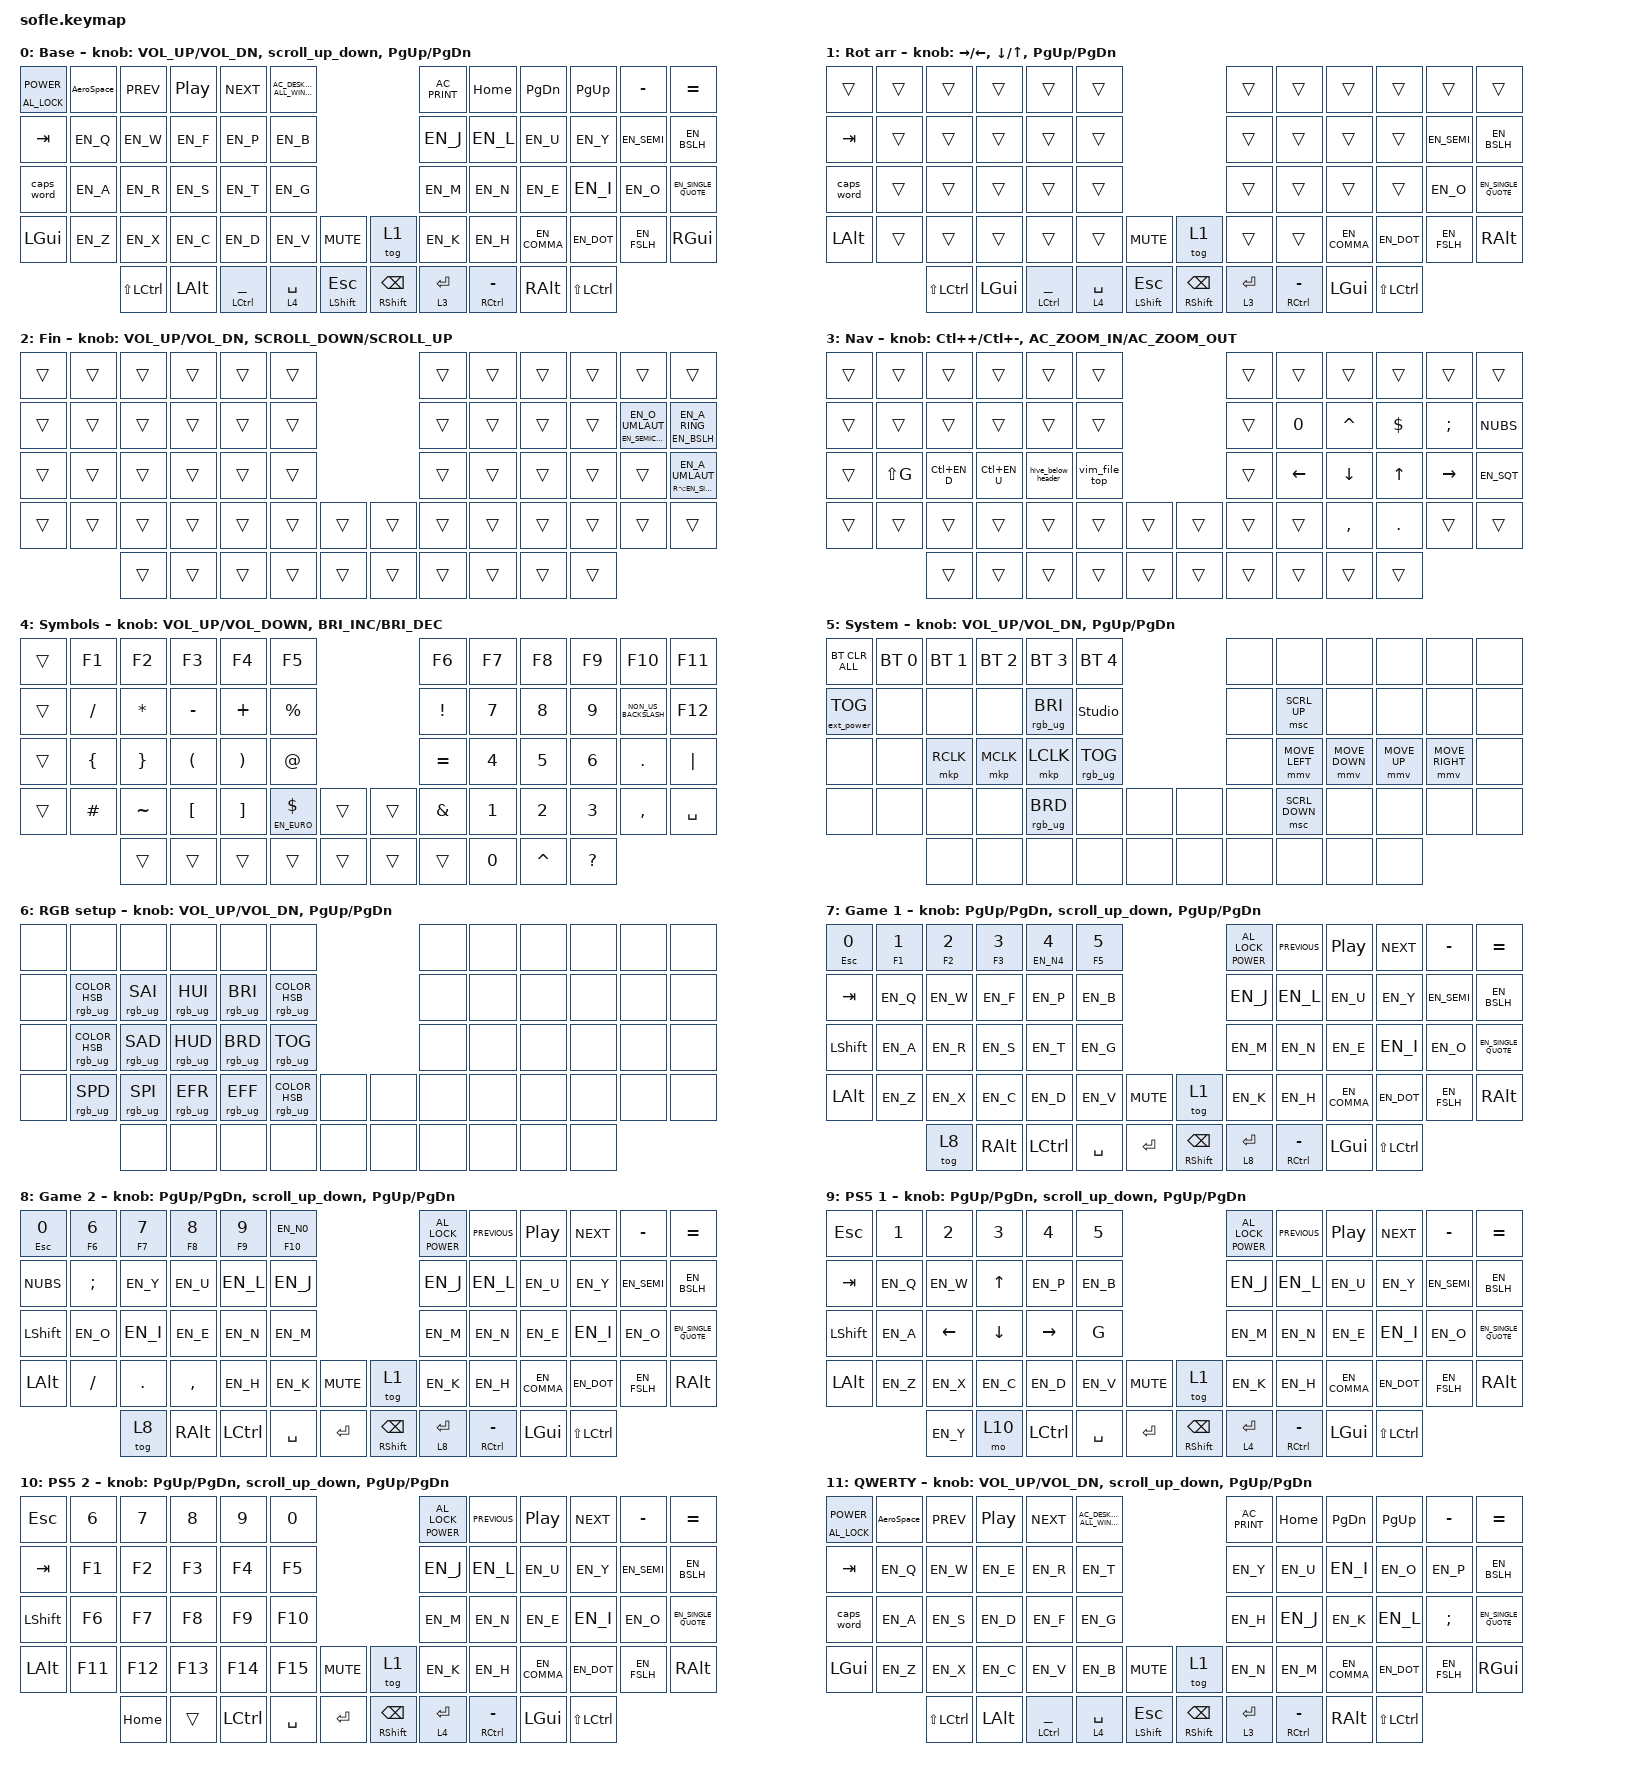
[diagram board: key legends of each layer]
/*
 * Copyright (c) 2020 The ZMK Contributors
 *
 * SPDX-License-Identifier: MIT
 */

#define ZMK_POINTING_DEFAULT_MOVE_VAL 1100  // 600
#define ZMK_POINTING_DEFAULT_SCRL_VAL 72   // 10
#define ZMK_MOUSE_SCRL_VAL 72

#include "keys_us_international.h"
#include <dt-bindings/led/led.h>
#include <behaviors.dtsi>
#include <dt-bindings/zmk/bt.h>
#include <dt-bindings/zmk/ext_power.h>
#include <dt-bindings/zmk/keys.h>
#include <dt-bindings/zmk/pointing.h>
#include <dt-bindings/zmk/rgb.h>

/*
 * Temporarily here because nice nano v2 spi is not defined on ZMK Yet
 * Source: https://github.com/zmkfirmware/zmk/blob/main/app/boards/shields/reviung41/boards/nice_nano.overlay
 * GitHub Issue: https://github.com/zmkfirmware/zmk/issues/885
 */

&pinctrl {
    spi3_default: spi3_default {
        group1 { psels = <NRF_PSEL(SPIM_MOSI, 0, 8)>; };
    };

    spi3_sleep: spi3_sleep {
        group1 {
            psels = <NRF_PSEL(SPIM_MOSI, 0, 8)>;
            low-power-enable;
        };
    };
};

&spi3 {
    compatible = "nordic,nrf-spim";
    status = "okay";
    pinctrl-0 = <&spi3_default>;
    pinctrl-1 = <&spi3_sleep>;
    pinctrl-names = "default", "sleep";

    led_strip: ws2812@0 {
        compatible = "worldsemi,ws2812-spi";
        label = "WS2812";

        /* SPI */

        reg = <0>; /* ignored, but necessary for SPI bindings */
        spi-max-frequency = <4000000>;

        /* WS2812 */

        chain-length = <30>;
        spi-one-frame = <0x70>;
        spi-zero-frame = <0x40>;
        color-mapping = <LED_COLOR_ID_GREEN LED_COLOR_ID_RED LED_COLOR_ID_BLUE>;
    };
};

/ {
    chosen { zmk,underglow = &led_strip; };
};

/* END temporary RGB support section */
// Encoders

&sensors { triggers-per-rotation = <30>; };

&left_encoder { steps = <60>; };

&right_encoder { steps = <60>; };

&mmv {
    x-input-code = <INPUT_REL_X>;
    y-input-code = <INPUT_REL_Y>;
    time-to-max-speed-ms = <1000>;    // 500
    acceleration-exponent = <1>;      // 1
    delay-ms = <0>;                   // 0
};

#define BASE 0
#define LOWER 1
#define RAISE 2
#define ADJUST 3

/ {
    // Activate ADJUST layer by pressing raise and lower

    conditional_layers {
        compatible = "zmk,conditional-layers";

        system_layer {
            if-layers = <4 3>;
            then-layer = <5>;
        };
    };

    combos {
        compatible = "zmk,combos";

        backspace {
            bindings = <&kp BACKSPACE>;
            key-positions = <20 21>;
        };

        delete_right {
            bindings = <&kp DELETE>;
            key-positions = <59 55>;
        };

        toggle_symbols {
            bindings = <&tog 4>;
            key-positions = <14 15 16>;
        };

        toggle_nav {
            bindings = <&tog 3>;
            key-positions = <19 20 21>;
        };

        toggle_finnish {
            bindings = <&tog 2>;
            key-positions = <53 36>;
        };

        capslock {
            bindings = <&kp CAPS>;
            key-positions = <54 55>;
        };

        delete_left {
            bindings = <&kp DELETE>;
            key-positions = <54 50>;
        };

        rgb_settings {
            bindings = <&tog 6>;
            key-positions = <0 5>;
        };

        toggle_game_1 {
            bindings = <&tog 7>;
            key-positions = <1 37>;
        };

        PS5_toggle {
            bindings = <&tog 9>;
            key-positions = <5 41>;
        };

        toggle_qwerty {
            bindings = <&tog 11>;
            key-positions = <0 36>;
        };
    };

    behaviors {
        caps: caps {
            compatible = "zmk,behavior-caps-word";
            label = "CAPS";
            #binding-cells = <0>;
            continue-list = <POUND MINUS BACKSPACE UNDERSCORE>;
        };

        LayerHold_KeyTap: LayerHold_KeyTap {
            compatible = "zmk,behavior-hold-tap";
            label = "LAYERHOLD_KEYTAP";
            bindings = <&mo>, <&kp>;

            #binding-cells = <2>;
            flavor = "balanced";
            tapping-term-ms = <0>;
        };

        scroll_up_down: scroll_up_down {
            compatible = "zmk,behavior-sensor-rotate";
            #sensor-binding-cells = <0>;
            tap-ms = <40>;
            bindings = <&msc SCRL_UP>, <&msc SCRL_DOWN>;

            label = "SCROLL_UP_DOWN";
        };

        key_tap_hold_layer_toggle: key_tap_hold_layer_toggle {
            compatible = "zmk,behavior-hold-tap";
            label = "KEY_TAP_HOLD_LAYER_TOGGLE";
            bindings = <&tog>, <&kp>;

            #binding-cells = <2>;
            tapping-term-ms = <0>;
            flavor = "tap-preferred";
            quick-tap-ms = <200>;
        };
    };

    macros {
        vim_file_top: vim_file_top {
            compatible = "zmk,behavior-macro";
            #binding-cells = <0>;
            bindings = <&kp EN_G &kp EN_G>;
            label = "VIM_FILE_TOP";
        };

        hive_below_header: hive_below_header {
            compatible = "zmk,behavior-macro";
            #binding-cells = <0>;
            bindings = <&kp EN_N1 &kp N3 &kp EN_G &kp EN_G>;
            label = "HIVE_BELOW_HEADER";
        };

        AeroSpace: AeroSpace {
            compatible = "zmk,behavior-macro";
            #binding-cells = <0>;
            bindings =
                <&macro_press>,
                <&mo 4 &kp LEFT_ALT>,
                <&macro_pause_for_release>,
                <&macro_release>,
                <&mo 4 &kp LEFT_ALT>;

            label = "AEROSPACE";
        };
    };

    keymap {
        compatible = "zmk,keymap";

        default_layer {
            display-name = "Base";

            // ------------------------------------------------------------------------------------------------------------
            // |   `   |  1  |  2  |  3   |  4   |  5   |                   |  6   |  7    |  8    |  9   |   0   |       |
            // |  ESC  |  Q  |  W  |  E   |  R   |  T   |                   |  Y   |  U    |  I    |  O   |   P   | BKSPC |
            // |  TAB  |  A  |  S  |  D   |  F   |  G   |                   |  H   |  J    |  K    |  L   |   ;   |   '   |
            // | SHIFT |  Z  |  X  |  C   |  V   |  B   |  MUTE  |  |       |  N   |  M    |  ,    |  .   |   /   | SHIFT |
            //               | GUI | ALT  | CTRL | LOWER|  ENTER |  | SPACE | RAISE| CTRL  | ALT   | GUI  |

            bindings = <
&mt C_AL_LOCK C_POWER  &AeroSpace  &kp C_PREV            &kp C_PLAY_PAUSE  &kp C_NEXT                   &kp C_AC_DESKTOP_SHOW_ALL_WINDOWS                                                   &kp C_AC_PRINT  &kp HOME                 &kp PAGE_DOWN  &kp PAGE_UP           &kp MINUS    &kp EQUAL
&kp TAB                &kp EN_Q    &kp EN_W              &kp EN_F          &kp EN_P                     &kp EN_B                                                                            &kp EN_J        &kp EN_L                 &kp EN_U       &kp EN_Y              &kp EN_SEMI  &kp EN_BSLH
&caps_word             &kp EN_A    &kp EN_R              &kp EN_S          &kp EN_T                     &kp EN_G                                                                            &kp EN_M        &kp EN_N                 &kp EN_E       &kp EN_I              &kp EN_O     &kp EN_SINGLE_QUOTE
&kp LEFT_GUI           &kp EN_Z    &kp EN_X              &kp EN_C          &kp EN_D                     &kp EN_V                           &kp C_MUTE            &tog 1                     &kp EN_K        &kp EN_H                 &kp EN_COMMA   &kp EN_DOT            &kp EN_FSLH  &kp RIGHT_GUI
                                   &kp LS(LEFT_CONTROL)  &kp LEFT_ALT      &mt LEFT_CONTROL UNDERSCORE  &lt 4 SPACE                        &mt LEFT_SHIFT ESC    &mt RIGHT_SHIFT BACKSPACE  &lt 3 ENTER     &mt RIGHT_CONTROL MINUS  &kp RIGHT_ALT  &kp LS(LEFT_CONTROL)
            >;

            sensor-bindings =
                <&inc_dec_kp C_VOL_UP C_VOL_DN>,
                <&scroll_up_down>,
                <&inc_dec_kp PG_UP PG_DN>;
        };

        rotary_arrows {
            display-name = "Rot arr";
            bindings = <
&trans        &trans  &trans                &trans        &trans                       &trans                                                        &trans       &trans                   &trans        &trans                &trans       &trans
&kp TAB       &trans  &trans                &trans        &trans                       &trans                                                        &trans       &trans                   &trans        &trans                &kp EN_SEMI  &kp EN_BSLH
&caps_word    &trans  &trans                &trans        &trans                       &trans                                                        &trans       &trans                   &trans        &trans                &kp EN_O     &kp EN_SINGLE_QUOTE
&kp LEFT_ALT  &trans  &trans                &trans        &trans                       &trans       &kp C_MUTE            &tog 1                     &trans       &trans                   &kp EN_COMMA  &kp EN_DOT            &kp EN_FSLH  &kp RIGHT_ALT
                      &kp LS(LEFT_CONTROL)  &kp LEFT_GUI  &mt LEFT_CONTROL UNDERSCORE  &lt 4 SPACE  &mt LEFT_SHIFT ESC    &mt RIGHT_SHIFT BACKSPACE  &lt 3 ENTER  &mt RIGHT_CONTROL MINUS  &kp LEFT_GUI  &kp LS(LEFT_CONTROL)
            >;

            sensor-bindings =
                <&inc_dec_kp RIGHT LEFT>,
                <&inc_dec_kp DOWN UP>,
                <&inc_dec_kp PG_UP PG_DN>;
        };

        finnish_layer {
            bindings = <
&trans  &trans  &trans  &trans  &trans  &trans                    &trans  &trans  &trans  &trans  &trans                        &trans
&trans  &trans  &trans  &trans  &trans  &trans                    &trans  &trans  &trans  &trans  &mt EN_SEMICOLON EN_O_UMLAUT  &mt EN_BSLH EN_A_RING
&trans  &trans  &trans  &trans  &trans  &trans                    &trans  &trans  &trans  &trans  &trans                        &mt RA(EN_SINGLE_QUOTE) EN_A_UMLAUT
&trans  &trans  &trans  &trans  &trans  &trans  &trans    &trans  &trans  &trans  &trans  &trans  &trans                        &trans
                &trans  &trans  &trans  &trans  &trans    &trans  &trans  &trans  &trans  &trans
            >;

            sensor-bindings =
                <&inc_dec_kp C_VOL_UP C_VOL_DN>,
                <&inc_dec_kp K_SCROLL_DOWN K_SCROLL_UP>;

            label = "Fin";
        };

        nav_layer {
            display-name = "Nav";

            // ------------------------------------------------------------------------------------------------------------
            // | BTCLR | BT1  | BT2  |  BT3  |  BT4  |  BT5 |                |      |      |       |      |       |       |
            // |       | INS  | PSCR | GUI   |       |      |                | PGUP |      |   ^   |      |       |       |
            // |       | ALT  | CTRL | SHIFT |       | CAPS |                | PGDN |   <- |   v   |  ->  |  DEL  | BKSPC |
            // |       | UNDO | CUT  | COPY  | PASTE |      |      |  |      |      |      |       |      |       |       |
            //                |      |       |       |      |      |  |      |      |      |       |      |

            bindings = <
&trans  &trans     &trans        &trans        &trans              &trans                           &trans  &trans    &trans     &trans      &trans     &trans
&trans  &trans     &trans        &trans        &trans              &trans                           &trans  &kp N0    &kp CARET  &kp DOLLAR  &kp SEMI   &kp NUBS
&trans  &kp LS(G)  &kp LC(EN_D)  &kp LC(EN_U)  &hive_below_header  &vim_file_top                    &trans  &kp LEFT  &kp DOWN   &kp UP      &kp RIGHT  &kp EN_SQT
&trans  &trans     &trans        &trans        &trans              &trans         &trans    &trans  &trans  &trans    &kp COMMA  &kp DOT     &trans     &trans
                   &trans        &trans        &trans              &trans         &trans    &trans  &trans  &trans    &trans     &trans
            >;

            sensor-bindings =
                <&inc_dec_kp LC(PLUS) LC(MINUS)>,
                <&inc_dec_kp C_AC_ZOOM_IN C_AC_ZOOM_OUT>;
        };

        symbol_layer {
            display-name = "Symbols";

            // TODO: Some binds are waiting for shifted keycode support.
            // ------------------------------------------------------------------------------------------------------------
            // |       |  F1 |  F2 |  F3  |  F4  |  F5  |                   |  F6  |  F7   |  F8   |  F9  |  F10  |  F11  |
            // |   `   |  1  |  2  |  3   |  4   |  5   |                   |  6   |  7    |  8    |  9   |   0   |  F12  |
            // |       |  !  |  @  |  #   |  $   |  %   |                   |  ^   |  &    |  *    |  (   |   )   |   |   |
            // |       |  =  |  -  |  +   |  {   |  }   |        |  |       |  [   |  ]    |  ;    |  :   |   \   |       |
            //               |     |      |      |      |        |  |       |      |       |       |      |

            bindings = <
&trans  &kp F1          &kp F2           &kp F3                &kp F4                 &kp F5                              &kp F6           &kp F7        &kp F8        &kp F9        &kp F10               &kp F11
&trans  &kp SLASH       &kp ASTERISK     &kp MINUS             &kp PLUS               &kp PERCENT                         &kp EXCLAMATION  &kp N7        &kp N8        &kp N9        &kp NON_US_BACKSLASH  &kp F12
&trans  &kp LEFT_BRACE  &kp RIGHT_BRACE  &kp LEFT_PARENTHESIS  &kp RIGHT_PARENTHESIS  &kp AT_SIGN                         &kp EQUAL        &kp NUMBER_4  &kp N5        &kp NUMBER_6  &kp DOT               &kp PIPE
&trans  &kp HASH        &kp TILDE        &kp LEFT_BRACKET      &kp RIGHT_BRACKET      &mt EN_EURO DLLR  &trans    &trans  &kp AMPS         &kp NUMBER_1  &kp NUMBER_2  &kp NUMBER_3  &kp COMMA             &kp SPACE
                        &trans           &trans                &trans                 &trans            &trans    &trans  &trans           &kp N0        &kp CARET     &kp QMARK
            >;

            sensor-bindings =
                <&inc_dec_kp C_VOL_UP C_VOLUME_DOWN>,
                <&inc_dec_kp C_BRIGHTNESS_INC C_BRIGHTNESS_DEC>;
        };

        system_layer {
            // ----------------------------------------------------------------------------------------------------------------------------
            // | BTCLR  |  BT1    |  BT2    |   BT3   |   BT4   |   BT5   |                  |      |      |       |      |       |       |
            // | EXTPWR | RGB_HUD | RGB_HUI | RGB_SAD | RGB_SAI | RGB_EFF |                  |      |      |       |      |       |       |
            // |        | RGB_BRD | RGB_BRI |         |         |         |                  |      |      |       |      |       |       |
            // |        |         |         |         |         |         | RGB_TOG | |      |      |      |       |      |       |       |
            //                    |         |         |         |         |         | |      |      |      |       |      |

            display-name = "System";
            bindings = <
&bt BT_CLR_ALL     &bt BT_SEL 0  &bt BT_SEL 1  &bt BT_SEL 2  &bt BT_SEL 3     &bt BT_SEL 4                     &none  &none           &none           &none         &none            &none
&ext_power EP_TOG  &none         &none         &none         &rgb_ug RGB_BRI  &studio_unlock                   &none  &msc SCRL_UP    &none           &none         &none            &none
&none              &none         &mkp RCLK     &mkp MCLK     &mkp LCLK        &rgb_ug RGB_TOG                  &none  &mmv MOVE_LEFT  &mmv MOVE_DOWN  &mmv MOVE_UP  &mmv MOVE_RIGHT  &none
&none              &none         &none         &none         &rgb_ug RGB_BRD  &none            &none    &none  &none  &msc SCRL_DOWN  &none           &none         &none            &none
                                 &none         &none         &none            &none            &none    &none  &none  &none           &none           &none
            >;

            sensor-bindings = <&inc_dec_kp C_VOL_UP C_VOL_DN &inc_dec_kp PG_UP PG_DN>;
        };

        rgb_setup {
            display-name = "RGB setup";
            bindings = <
&none  &none                             &none            &none            &none            &none                                             &none  &none  &none  &none  &none  &none
&none  &rgb_ug RGB_COLOR_HSB(140,57,27)  &rgb_ug RGB_SAI  &rgb_ug RGB_HUI  &rgb_ug RGB_BRI  &rgb_ug RGB_COLOR_HSB(208,78,27)                  &none  &none  &none  &none  &none  &none
&none  &rgb_ug RGB_COLOR_HSB(24,95,29)   &rgb_ug RGB_SAD  &rgb_ug RGB_HUD  &rgb_ug RGB_BRD  &rgb_ug RGB_TOG                                   &none  &none  &none  &none  &none  &none
&none  &rgb_ug RGB_SPD                   &rgb_ug RGB_SPI  &rgb_ug RGB_EFR  &rgb_ug RGB_EFF  &rgb_ug RGB_COLOR_HSB(0,100,50)   &none    &none  &none  &none  &none  &none  &none  &none
                                         &none            &none            &none            &none                             &none    &none  &none  &none  &none  &none
            >;

            sensor-bindings =
                <&inc_dec_kp C_VOL_UP C_VOL_DN>,
                <&inc_dec_kp PG_UP PG_DN>;
        };

        game_1 {
            display-name = "Game 1";
            bindings = <
&mt ESC NUMBER_0  &mt F1 NUMBER_1  &mt F2 NUMBER_2  &mt F3 NUMBER_3  &mt EN_N4 NUMBER_4  &mt F5 NUMBER_5                                           &mt C_POWER C_AL_LOCK  &kp C_PREVIOUS           &kp C_PP      &kp C_NEXT            &kp MINUS    &kp EQUAL
&kp TAB           &kp EN_Q         &kp EN_W         &kp EN_F         &kp EN_P            &kp EN_B                                                  &kp EN_J               &kp EN_L                 &kp EN_U      &kp EN_Y              &kp EN_SEMI  &kp EN_BSLH
&kp LEFT_SHIFT    &kp EN_A         &kp EN_R         &kp EN_S         &kp EN_T            &kp EN_G                                                  &kp EN_M               &kp EN_N                 &kp EN_E      &kp EN_I              &kp EN_O     &kp EN_SINGLE_QUOTE
&kp LEFT_ALT      &kp EN_Z         &kp EN_X         &kp EN_C         &kp EN_D            &kp EN_V         &kp C_MUTE    &tog 1                     &kp EN_K               &kp EN_H                 &kp EN_COMMA  &kp EN_DOT            &kp EN_FSLH  &kp RIGHT_ALT
                                   &tog 8           &kp RIGHT_ALT    &kp LEFT_CONTROL    &kp SPACE        &kp ENTER     &mt RIGHT_SHIFT BACKSPACE  &lt 8 ENTER            &mt RIGHT_CONTROL MINUS  &kp LEFT_GUI  &kp LS(LEFT_CONTROL)
            >;

            sensor-bindings =
                <&inc_dec_kp PAGE_UP PAGE_DOWN>,
                <&scroll_up_down>,
                <&inc_dec_kp PG_UP PG_DN>;
        };

        game_2 {
            display-name = "Game 2";
            bindings = <
&mt ESC NUMBER_0  &mt F6 NUMBER_6  &mt F7 NUMBER_7  &mt F8 NUMBER_8  &mt F9 NUMBER_9   &mt F10 EN_N0                                           &mt C_POWER C_AL_LOCK  &kp C_PREVIOUS           &kp C_PP      &kp C_NEXT            &kp MINUS    &kp EQUAL
&kp NUBS          &kp SEMI         &kp EN_Y         &kp EN_U         &kp EN_L          &kp EN_J                                                &kp EN_J               &kp EN_L                 &kp EN_U      &kp EN_Y              &kp EN_SEMI  &kp EN_BSLH
&kp LEFT_SHIFT    &kp EN_O         &kp EN_I         &kp EN_E         &kp EN_N          &kp EN_M                                                &kp EN_M               &kp EN_N                 &kp EN_E      &kp EN_I              &kp EN_O     &kp EN_SINGLE_QUOTE
&kp LEFT_ALT      &kp FSLH         &kp DOT          &kp COMMA        &kp EN_H          &kp EN_K       &kp C_MUTE    &tog 1                     &kp EN_K               &kp EN_H                 &kp EN_COMMA  &kp EN_DOT            &kp EN_FSLH  &kp RIGHT_ALT
                                   &tog 8           &kp RIGHT_ALT    &kp LEFT_CONTROL  &kp SPACE      &kp ENTER     &mt RIGHT_SHIFT BACKSPACE  &lt 8 ENTER            &mt RIGHT_CONTROL MINUS  &kp LEFT_GUI  &kp LS(LEFT_CONTROL)
            >;

            sensor-bindings =
                <&inc_dec_kp PAGE_UP PAGE_DOWN>,
                <&scroll_up_down>,
                <&inc_dec_kp PG_UP PG_DN>;
        };

        ps5_1 {
            display-name = "PS5 1";
            bindings = <
&kp ESC         &kp NUMBER_1  &kp NUMBER_2  &kp NUMBER_3  &kp NUMBER_4      &kp NUMBER_5                                           &mt C_POWER C_AL_LOCK  &kp C_PREVIOUS           &kp C_PP      &kp C_NEXT            &kp MINUS    &kp EQUAL
&kp TAB         &kp EN_Q      &kp EN_W      &kp UP        &kp EN_P          &kp EN_B                                               &kp EN_J               &kp EN_L                 &kp EN_U      &kp EN_Y              &kp EN_SEMI  &kp EN_BSLH
&kp LEFT_SHIFT  &kp EN_A      &kp LEFT      &kp DOWN      &kp RIGHT_ARROW   &kp G                                                  &kp EN_M               &kp EN_N                 &kp EN_E      &kp EN_I              &kp EN_O     &kp EN_SINGLE_QUOTE
&kp LEFT_ALT    &kp EN_Z      &kp EN_X      &kp EN_C      &kp EN_D          &kp EN_V      &kp C_MUTE    &tog 1                     &kp EN_K               &kp EN_H                 &kp EN_COMMA  &kp EN_DOT            &kp EN_FSLH  &kp RIGHT_ALT
                              &kp EN_Y      &mo 10        &kp LEFT_CONTROL  &kp SPACE     &kp ENTER     &mt RIGHT_SHIFT BACKSPACE  &lt 4 ENTER            &mt RIGHT_CONTROL MINUS  &kp LEFT_GUI  &kp LS(LEFT_CONTROL)
            >;

            sensor-bindings =
                <&inc_dec_kp PAGE_UP PAGE_DOWN>,
                <&scroll_up_down>,
                <&inc_dec_kp PG_UP PG_DN>;
        };

        ps5_2 {
            display-name = "PS5 2";
            bindings = <
&kp ESC         &kp NUMBER_6  &kp NUMBER_7  &kp NUMBER_8  &kp NUMBER_9      &kp NUMBER_0                                           &mt C_POWER C_AL_LOCK  &kp C_PREVIOUS           &kp C_PP      &kp C_NEXT            &kp MINUS    &kp EQUAL
&kp TAB         &kp F1        &kp F2        &kp F3        &kp F4            &kp F5                                                 &kp EN_J               &kp EN_L                 &kp EN_U      &kp EN_Y              &kp EN_SEMI  &kp EN_BSLH
&kp LEFT_SHIFT  &kp F6        &kp F7        &kp F8        &kp F9            &kp F10                                                &kp EN_M               &kp EN_N                 &kp EN_E      &kp EN_I              &kp EN_O     &kp EN_SINGLE_QUOTE
&kp LEFT_ALT    &kp F11       &kp F12       &kp F13       &kp F14           &kp F15       &kp C_MUTE    &tog 1                     &kp EN_K               &kp EN_H                 &kp EN_COMMA  &kp EN_DOT            &kp EN_FSLH  &kp RIGHT_ALT
                              &kp HOME      &trans        &kp LEFT_CONTROL  &kp SPACE     &kp ENTER     &mt RIGHT_SHIFT BACKSPACE  &lt 4 ENTER            &mt RIGHT_CONTROL MINUS  &kp LEFT_GUI  &kp LS(LEFT_CONTROL)
            >;

            sensor-bindings =
                <&inc_dec_kp PAGE_UP PAGE_DOWN>,
                <&scroll_up_down>,
                <&inc_dec_kp PG_UP PG_DN>;
        };

        qwerty {
            display-name = "QWERTY";
            bindings = <
&mt C_AL_LOCK C_POWER  &AeroSpace  &kp C_PREV            &kp C_PLAY_PAUSE  &kp C_NEXT                   &kp C_AC_DESKTOP_SHOW_ALL_WINDOWS                                                   &kp C_AC_PRINT  &kp HOME                 &kp PAGE_DOWN  &kp PAGE_UP           &kp MINUS    &kp EQUAL
&kp TAB                &kp EN_Q    &kp EN_W              &kp EN_E          &kp EN_R                     &kp EN_T                                                                            &kp EN_Y        &kp EN_U                 &kp EN_I       &kp EN_O              &kp EN_P     &kp EN_BSLH
&caps_word             &kp EN_A    &kp EN_S              &kp EN_D          &kp EN_F                     &kp EN_G                                                                            &kp EN_H        &kp EN_J                 &kp EN_K       &kp EN_L              &kp SEMI     &kp EN_SINGLE_QUOTE
&kp LEFT_GUI           &kp EN_Z    &kp EN_X              &kp EN_C          &kp EN_V                     &kp EN_B                           &kp C_MUTE            &tog 1                     &kp EN_N        &kp EN_M                 &kp EN_COMMA   &kp EN_DOT            &kp EN_FSLH  &kp RIGHT_GUI
                                   &kp LS(LEFT_CONTROL)  &kp LEFT_ALT      &mt LEFT_CONTROL UNDERSCORE  &lt 4 SPACE                        &mt LEFT_SHIFT ESC    &mt RIGHT_SHIFT BACKSPACE  &lt 3 ENTER     &mt RIGHT_CONTROL MINUS  &kp RIGHT_ALT  &kp LS(LEFT_CONTROL)
            >;

            sensor-bindings =
                <&inc_dec_kp C_VOL_UP C_VOL_DN>,
                <&scroll_up_down>,
                <&inc_dec_kp PG_UP PG_DN>;
        };
    };
};
